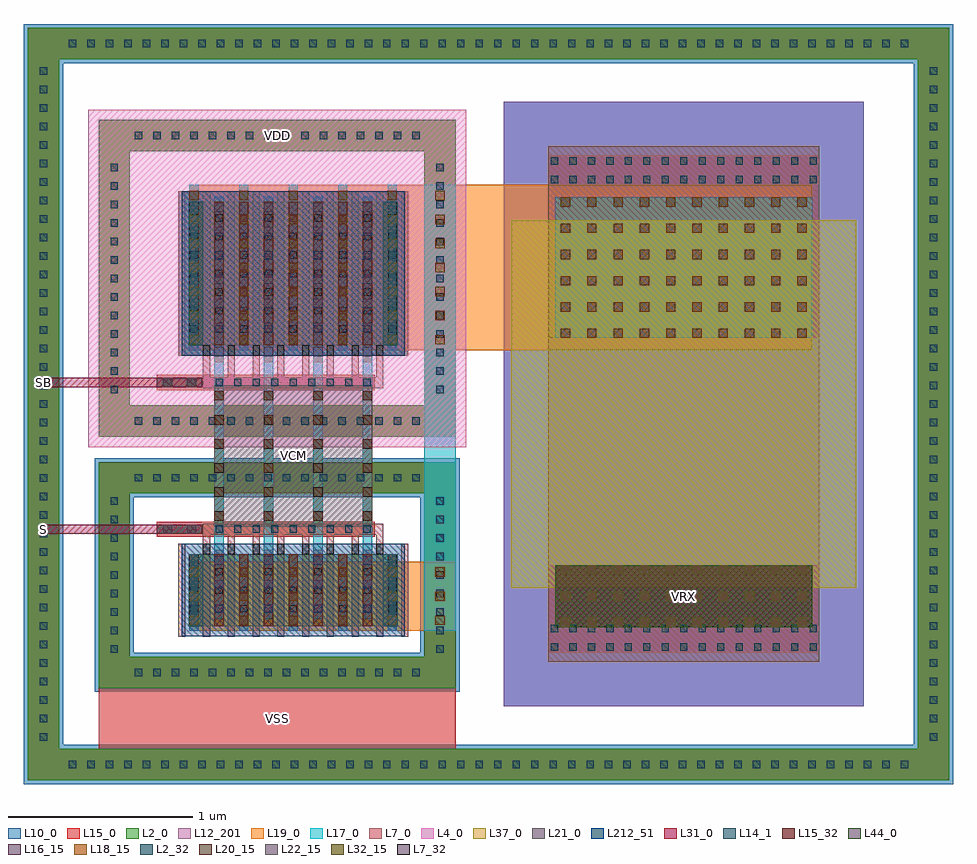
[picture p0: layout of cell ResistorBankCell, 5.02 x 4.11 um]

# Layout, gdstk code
import gdstk
lib = gdstk.Library(unit=1e-6, precision=1e-09)
def R(c, l, rs):  # rectangles x0, y0, x1, y1
    for r in rs: c.add(gdstk.rectangle(r[:2], r[2:], *l))
def A(c, l, x, y, w, h, nx, ny, dx, dy):  # array of equal rectangles
    R(c, l, [(x+i*dx, y+j*dy, x+i*dx+w, y+j*dy+h) for i in range(nx) for j in range(ny)])
L2_0 = (2, 0)
L2_32 = (2, 32)
L4_0 = (4, 0)
L7_0 = (7, 0)
L7_32 = (7, 32)
L10_0 = (10, 0)
L12_201 = (12, 201)
L14_1 = (14, 1)
L15_0 = (15, 0)
L15_32 = (15, 32)
L16_15 = (16, 15)
L17_0 = (17, 0)
L18_15 = (18, 15)
L19_0 = (19, 0)
L20_15 = (20, 15)
L21_0 = (21, 0)
L22_15 = (22, 15)
L31_0 = (31, 0)
L32_15 = (32, 15)
L37_0 = (37, 0)
L44_0 = (44, 0)
L212_51 = (212, 51)

nmosintransmissiongate = lib.new_cell('NMOSInTransmissionGate')
R(nmosintransmissiongate, L2_0, [(-0.564,-0.194,0.564,0.194)])
R(nmosintransmissiongate, L2_32, [(-0.564,-0.194,-0.488,0.194), (0.488,-0.194,0.564,0.194)])
A(nmosintransmissiongate, L7_0, -0.622, -0.251, 0.038, 0.502, 10, 1, 0.134, 0)
A(nmosintransmissiongate, L7_32, -0.488, -0.251, 0.038, 0.057, 8, 1, 0.134, 0)
A(nmosintransmissiongate, L14_1, -0.556, -0.12, 0.04, 0.04, 9, 3, 0.134, 0.1)
A(nmosintransmissiongate, L15_0, -0.561, -0.194, 0.05, 0.388, 9, 1, 0.134, 0)
A(nmosintransmissiongate, L15_32, -0.561, -0.194, 0.05, 0.388, 9, 1, 0.134, 0)
R(nmosintransmissiongate, L212_51, [(-0.603,-0.25,0.603,0.25)])

pmosintransmissiongate = lib.new_cell('PMOSInTransmissionGate')
R(pmosintransmissiongate, L2_0, [(-0.564,-0.388,0.564,0.388)])
R(pmosintransmissiongate, L2_32, [(-0.564,-0.388,-0.488,0.388), (0.488,-0.388,0.564,0.388)])
A(pmosintransmissiongate, L7_0, -0.622, -0.445, 0.038, 0.89, 10, 1, 0.134, 0)
A(pmosintransmissiongate, L7_32, -0.488, -0.445, 0.038, 0.057, 8, 1, 0.134, 0)
R(pmosintransmissiongate, L10_0, [(-0.62,-0.445,0.62,0.445)])
A(pmosintransmissiongate, L14_1, -0.556, -0.32, 0.04, 0.04, 9, 7, 0.134, 0.1)
A(pmosintransmissiongate, L15_0, -0.561, -0.388, 0.05, 0.776, 9, 1, 0.134, 0)
A(pmosintransmissiongate, L15_32, -0.561, -0.388, 0.05, 0.776, 9, 1, 0.134, 0)
R(pmosintransmissiongate, L212_51, [(-0.603,-0.444,0.603,0.444)])

viamet12met2onpmosoutput = lib.new_cell('ViaMet12Met2OnPMOSOutputInTransmissionGate')
R(viamet12met2onpmosoutput, L15_0, [(-0.025,-0.447,0.025,0.447)])
A(viamet12met2onpmosoutput, L16_15, -0.025, -0.415, 0.05, 0.05, 1, 7, 0, 0.13)
R(viamet12met2onpmosoutput, L17_0, [(-0.025,-0.447,0.025,0.447)])

viamet22met3onpmosoutput = lib.new_cell('ViaMet22Met3OnPMOSOutputInTransmissionGate')
R(viamet22met3onpmosoutput, L17_0, [(-0.025,-0.447,0.025,0.447)])
A(viamet22met3onpmosoutput, L18_15, -0.025, -0.415, 0.05, 0.05, 1, 7, 0, 0.13)
R(viamet22met3onpmosoutput, L19_0, [(-0.025,-0.447,0.025,0.447)])

viamet12met2onnmosoutput = lib.new_cell('ViaMet12Met2OnNMOSOutputInTransmissionGate')
R(viamet12met2onnmosoutput, L15_0, [(-0.025,-0.187,0.025,0.187)])
A(viamet12met2onnmosoutput, L16_15, -0.025, -0.155, 0.05, 0.05, 1, 3, 0, 0.13)
R(viamet12met2onnmosoutput, L17_0, [(-0.025,-0.187,0.025,0.187)])

viamet22met3onnmosoutput = lib.new_cell('ViaMet22Met3OnNMOSOutputInTransmissionGate')
R(viamet22met3onnmosoutput, L17_0, [(-0.025,-0.187,0.025,0.187)])
A(viamet22met3onnmosoutput, L18_15, -0.025, -0.155, 0.05, 0.05, 1, 3, 0, 0.13)
R(viamet22met3onnmosoutput, L19_0, [(-0.025,-0.187,0.025,0.187)])

viapoly2met1onpmoscontro = lib.new_cell('ViaPoly2Met1OnPMOSControlInTransmissionGate')
R(viapoly2met1onpmoscontro, L7_0, [(-0.43,-0.03,0.43,0.03)])
A(viapoly2met1onpmoscontro, L14_1, -0.42, -0.02, 0.04, 0.04, 9, 1, 0.1, 0)
R(viapoly2met1onpmoscontro, L15_0, [(-0.441,-0.041,0.441,0.041)])

viapoly2met1onnmoscontro = lib.new_cell('ViaPoly2Met1OnNMOSControlInTransmissionGate')
R(viapoly2met1onnmoscontro, L7_0, [(-0.43,-0.03,0.43,0.03)])
A(viapoly2met1onnmoscontro, L14_1, -0.42, -0.02, 0.04, 0.04, 9, 1, 0.1, 0)
R(viapoly2met1onnmoscontro, L15_0, [(-0.441,-0.041,0.441,0.041)])

transmissiongateinresist = lib.new_cell('TransmissionGateInResistorBank')
transmissiongateinresist.add(gdstk.FlexPath([(-0.469,0.444),(-0.469,0.804)], 0.038, ends="flush", simple_path=True, layer=7, datatype=0))  # L7_0
transmissiongateinresist.add(gdstk.FlexPath([(-0.335,0.444),(-0.335,0.804)], 0.038, ends="flush", simple_path=True, layer=7, datatype=0))  # L7_0
transmissiongateinresist.add(gdstk.FlexPath([(-0.201,0.444),(-0.201,0.804)], 0.038, ends="flush", simple_path=True, layer=7, datatype=0))  # L7_0
transmissiongateinresist.add(gdstk.FlexPath([(-0.067,0.444),(-0.067,0.804)], 0.038, ends="flush", simple_path=True, layer=7, datatype=0))  # L7_0
transmissiongateinresist.add(gdstk.FlexPath([(0.067,0.444),(0.067,0.804)], 0.038, ends="flush", simple_path=True, layer=7, datatype=0))  # L7_0
transmissiongateinresist.add(gdstk.FlexPath([(0.201,0.444),(0.201,0.804)], 0.038, ends="flush", simple_path=True, layer=7, datatype=0))  # L7_0
transmissiongateinresist.add(gdstk.FlexPath([(0.335,0.444),(0.335,0.804)], 0.038, ends="flush", simple_path=True, layer=7, datatype=0))  # L7_0
transmissiongateinresist.add(gdstk.FlexPath([(0.469,0.444),(0.469,0.804)], 0.038, ends="flush", simple_path=True, layer=7, datatype=0))  # L7_0
transmissiongateinresist.add(gdstk.FlexPath([(-0.469,2.157),(-0.469,1.537)], 0.038, ends="flush", simple_path=True, layer=7, datatype=0))  # L7_0
transmissiongateinresist.add(gdstk.FlexPath([(-0.335,2.157),(-0.335,1.537)], 0.038, ends="flush", simple_path=True, layer=7, datatype=0))  # L7_0
transmissiongateinresist.add(gdstk.FlexPath([(-0.201,2.157),(-0.201,1.537)], 0.038, ends="flush", simple_path=True, layer=7, datatype=0))  # L7_0
transmissiongateinresist.add(gdstk.FlexPath([(-0.067,2.157),(-0.067,1.537)], 0.038, ends="flush", simple_path=True, layer=7, datatype=0))  # L7_0
transmissiongateinresist.add(gdstk.FlexPath([(0.067,2.157),(0.067,1.537)], 0.038, ends="flush", simple_path=True, layer=7, datatype=0))  # L7_0
transmissiongateinresist.add(gdstk.FlexPath([(0.201,2.157),(0.201,1.537)], 0.038, ends="flush", simple_path=True, layer=7, datatype=0))  # L7_0
transmissiongateinresist.add(gdstk.FlexPath([(0.335,2.157),(0.335,1.537)], 0.038, ends="flush", simple_path=True, layer=7, datatype=0))  # L7_0
transmissiongateinresist.add(gdstk.FlexPath([(0.469,2.157),(0.469,1.537)], 0.038, ends="flush", simple_path=True, layer=7, datatype=0))  # L7_0
transmissiongateinresist.add(gdstk.FlexPath([(-0.469,0.774),(0.469,0.774)], 0.06, ends="flush", simple_path=True, layer=7, datatype=0))  # L7_0
transmissiongateinresist.add(gdstk.FlexPath([(-0.469,1.567),(0.469,1.567)], 0.06, ends="flush", simple_path=True, layer=7, datatype=0))  # L7_0
transmissiongateinresist.add(gdstk.Reference(nmosintransmissiongate, (0,0.444), x_reflection=True))
transmissiongateinresist.add(gdstk.Reference(pmosintransmissiongate, (0,2.157)))
transmissiongateinresist.add(gdstk.Reference(viamet12met2onpmosoutput, (-0.402,2.125)))
transmissiongateinresist.add(gdstk.Reference(viamet12met2onpmosoutput, (-0.134,2.125)))
transmissiongateinresist.add(gdstk.Reference(viamet12met2onpmosoutput, (0.134,2.125)))
transmissiongateinresist.add(gdstk.Reference(viamet12met2onpmosoutput, (0.402,2.125)))
transmissiongateinresist.add(gdstk.Reference(viamet12met2onpmosoutput, (-0.536,2.189)))
transmissiongateinresist.add(gdstk.Reference(viamet12met2onpmosoutput, (-0.268,2.189)))
transmissiongateinresist.add(gdstk.Reference(viamet12met2onpmosoutput, (0,2.189)))
transmissiongateinresist.add(gdstk.Reference(viamet12met2onpmosoutput, (0.268,2.189)))
transmissiongateinresist.add(gdstk.Reference(viamet12met2onpmosoutput, (0.536,2.189)))
transmissiongateinresist.add(gdstk.Reference(viamet22met3onpmosoutput, (-0.536,2.189)))
transmissiongateinresist.add(gdstk.Reference(viamet22met3onpmosoutput, (-0.268,2.189)))
transmissiongateinresist.add(gdstk.Reference(viamet22met3onpmosoutput, (0,2.189)))
transmissiongateinresist.add(gdstk.Reference(viamet22met3onpmosoutput, (0.268,2.189)))
transmissiongateinresist.add(gdstk.Reference(viamet22met3onpmosoutput, (0.536,2.189)))
transmissiongateinresist.add(gdstk.Reference(viamet12met2onnmosoutput, (-0.402,0.476)))
transmissiongateinresist.add(gdstk.Reference(viamet12met2onnmosoutput, (-0.134,0.476)))
transmissiongateinresist.add(gdstk.Reference(viamet12met2onnmosoutput, (0.134,0.476)))
transmissiongateinresist.add(gdstk.Reference(viamet12met2onnmosoutput, (0.402,0.476)))
transmissiongateinresist.add(gdstk.Reference(viamet12met2onnmosoutput, (-0.536,0.412)))
transmissiongateinresist.add(gdstk.Reference(viamet12met2onnmosoutput, (-0.268,0.412)))
transmissiongateinresist.add(gdstk.Reference(viamet12met2onnmosoutput, (0,0.412)))
transmissiongateinresist.add(gdstk.Reference(viamet12met2onnmosoutput, (0.268,0.412)))
transmissiongateinresist.add(gdstk.Reference(viamet12met2onnmosoutput, (0.536,0.412)))
transmissiongateinresist.add(gdstk.Reference(viamet22met3onnmosoutput, (-0.536,0.412)))
transmissiongateinresist.add(gdstk.Reference(viamet22met3onnmosoutput, (-0.268,0.412)))
transmissiongateinresist.add(gdstk.Reference(viamet22met3onnmosoutput, (0,0.412)))
transmissiongateinresist.add(gdstk.Reference(viamet22met3onnmosoutput, (0.268,0.412)))
transmissiongateinresist.add(gdstk.Reference(viamet22met3onnmosoutput, (0.536,0.412)))
transmissiongateinresist.add(gdstk.Reference(viapoly2met1onpmoscontro, (0,1.567)))
transmissiongateinresist.add(gdstk.Reference(viapoly2met1onnmoscontro, (0,0.774)))

viamet12met2oninputinres = lib.new_cell('ViaMet12Met2OnInputInResistorBank')
R(viamet12met2oninputinres, L15_0, [(-0.122,-0.025,0.122,0.025)])
R(viamet12met2oninputinres, L16_15, [(-0.09,-0.025,-0.04,0.025), (0.04,-0.025,0.09,0.025)])
R(viamet12met2oninputinres, L17_0, [(-0.122,-0.025,0.122,0.025)])

viamet22met3oninputinres = lib.new_cell('ViaMet22Met3OnInputInResistorBank')
R(viamet22met3oninputinres, L17_0, [(-0.122,-0.025,0.122,0.025)])
R(viamet22met3oninputinres, L18_15, [(-0.09,-0.025,-0.04,0.025), (0.04,-0.025,0.09,0.025)])
R(viamet22met3oninputinres, L19_0, [(-0.122,-0.025,0.122,0.025)])

viamet32met4oninputinres = lib.new_cell('ViaMet32Met4OnInputInResistorBank')
R(viamet32met4oninputinres, L19_0, [(-0.122,-0.025,0.122,0.025)])
R(viamet32met4oninputinres, L20_15, [(-0.09,-0.025,-0.04,0.025), (0.04,-0.025,0.09,0.025)])
R(viamet32met4oninputinres, L21_0, [(-0.122,-0.025,0.122,0.025)])

viamet42met5oninputinres = lib.new_cell('ViaMet42Met5OnInputInResistorBank')
R(viamet42met5oninputinres, L21_0, [(-0.122,-0.025,0.122,0.025)])
R(viamet42met5oninputinres, L22_15, [(-0.09,-0.025,-0.04,0.025), (0.04,-0.025,0.09,0.025)])
R(viamet42met5oninputinres, L31_0, [(-0.122,-0.025,0.122,0.025)])

opppcresinresistorbank = lib.new_cell('OpppcresInResistorBank')
R(opppcresinresistorbank, L7_0, [(-0.733,-1.394,0.733,1.394)])
R(opppcresinresistorbank, L10_0, [(-0.973,-1.634,0.973,1.634)])
R(opppcresinresistorbank, L12_201, [(-0.973,-1.634,0.973,1.634)])
A(opppcresinresistorbank, L14_1, -0.72, -1.334, 0.04, 0.04, 15, 2, 0.1, 0.1)
A(opppcresinresistorbank, L14_1, -0.72, 1.194, 0.04, 0.04, 15, 2, 0.1, 0.1)
R(opppcresinresistorbank, L15_0, [(-0.732,-1.346,0.732,-1.182), (-0.732,1.182,0.732,1.346)])
R(opppcresinresistorbank, L37_0, [(-0.933,-0.994,0.933,0.994)])

pmossubringinresistorban = lib.new_cell('PMOSSubringInResistorBank')
R(pmossubringinresistorban, L2_0, [(-0.966,-0.857,0.966,-0.687), (-0.966,-0.857,-0.796,0.857), (0.796,-0.857,0.966,0.857), (-0.966,0.687,0.966,0.857)])
A(pmossubringinresistorban, L14_1, -0.77, -0.792, 0.04, 0.04, 16, 2, 0.1, 1.544)
A(pmossubringinresistorban, L14_1, -0.901, -0.62, 0.04, 0.04, 1, 13, 0, 0.1)
A(pmossubringinresistorban, L14_1, 0.861, -0.62, 0.04, 0.04, 1, 13, 0, 0.1)
R(pmossubringinresistorban, L15_0, [(-0.966,-0.857,0.966,-0.687), (-0.966,-0.857,-0.796,0.857), (0.796,-0.857,0.966,0.857), (-0.966,0.687,0.966,0.857)])
pmossubringinresistorban.add(gdstk.FlexPath([(0.881,0.913),(0.881,-0.772),(-0.881,-0.772),(-0.881,0.772),(1.022,0.772)], 0.282, ends="flush", simple_path=True, layer=4, datatype=0))  # L4_0

nmossubringinresistorban = lib.new_cell('NMOSSubringInResistorBank')
R(nmossubringinresistorban, L2_0, [(-0.966,-0.611,0.966,-0.441), (-0.966,-0.611,-0.796,0.611), (0.796,-0.611,0.966,0.611), (-0.966,0.441,0.966,0.611)])
A(nmossubringinresistorban, L14_1, -0.77, -0.546, 0.04, 0.04, 16, 2, 0.1, 1.052)
A(nmossubringinresistorban, L14_1, -0.901, -0.42, 0.04, 0.04, 1, 9, 0, 0.1)
A(nmossubringinresistorban, L14_1, 0.861, -0.42, 0.04, 0.04, 1, 9, 0, 0.1)
R(nmossubringinresistorban, L15_0, [(-0.966,-0.611,0.966,-0.441), (-0.966,-0.611,-0.796,0.611), (0.796,-0.611,0.966,0.611), (-0.966,0.441,0.966,0.611)])
nmossubringinresistorban.add(gdstk.FlexPath([(0.881,0.632),(0.881,-0.526),(-0.881,-0.526),(-0.881,0.526),(0.987,0.526)], 0.212, ends="flush", simple_path=True, layer=10, datatype=0))  # L10_0

totalsubringinresistorba = lib.new_cell('TotalSubringInResistorBank')
R(totalsubringinresistorba, L2_0, [(-2.491,-2.034,2.491,-1.864), (-2.491,-2.034,-2.321,2.034), (2.321,-2.034,2.491,2.034), (-2.491,1.864,2.491,2.034)])
A(totalsubringinresistorba, L14_1, -2.27, -1.969, 0.04, 0.04, 46, 2, 0.1, 3.898)
A(totalsubringinresistorba, L14_1, -2.426, -1.82, 0.04, 0.04, 1, 37, 0, 0.1)
A(totalsubringinresistorba, L14_1, 2.386, -1.82, 0.04, 0.04, 1, 37, 0, 0.1)
R(totalsubringinresistorba, L15_0, [(-2.491,-2.034,2.491,-1.864), (-2.491,-2.034,-2.321,2.034), (2.321,-2.034,2.491,2.034), (-2.491,1.864,2.491,2.034)])
totalsubringinresistorba.add(gdstk.FlexPath([(2.406,2.055),(2.406,-1.949),(-2.406,-1.949),(-2.406,1.949),(2.512,1.949)], 0.212, ends="flush", simple_path=True, layer=10, datatype=0))  # L10_0

viamet12met2onresistorin = lib.new_cell('ViaMet12Met2OnResistorInResistorBank')
R(viamet12met2onresistorin, L15_0, [(-0.696,-0.38,0.696,0.38)])
A(viamet12met2onresistorin, L16_15, -0.664, -0.38, 0.05, 0.05, 10, 6, 0.142, 0.142)
R(viamet12met2onresistorin, L17_0, [(-0.696,-0.38,0.696,0.38)])

viamet12met2onresistor1i = lib.new_cell('ViaMet12Met2OnResistor1InResistorBank')
R(viamet12met2onresistor1i, L15_0, [(-0.696,-0.167,0.696,0.167)])
A(viamet12met2onresistor1i, L16_15, -0.664, -0.167, 0.05, 0.05, 10, 3, 0.142, 0.142)
R(viamet12met2onresistor1i, L17_0, [(-0.696,-0.167,0.696,0.167)])

viamet22met3onresistorin = lib.new_cell('ViaMet22Met3OnResistorInResistorBank')
R(viamet22met3onresistorin, L17_0, [(-0.696,-0.38,0.696,0.38)])
A(viamet22met3onresistorin, L18_15, -0.664, -0.38, 0.05, 0.05, 10, 6, 0.142, 0.142)
R(viamet22met3onresistorin, L19_0, [(-0.696,-0.38,0.696,0.38)])

viamet22met3onresistor1i = lib.new_cell('ViaMet22Met3OnResistor1InResistorBank')
R(viamet22met3onresistor1i, L17_0, [(-0.696,-0.167,0.696,0.167)])
A(viamet22met3onresistor1i, L18_15, -0.664, -0.167, 0.05, 0.05, 10, 3, 0.142, 0.142)
R(viamet22met3onresistor1i, L19_0, [(-0.696,-0.167,0.696,0.167)])

viamet32met4onresistorin = lib.new_cell('ViaMet32Met4OnResistorInResistorBank')
R(viamet32met4onresistorin, L19_0, [(-0.696,-0.167,0.696,0.167)])
A(viamet32met4onresistorin, L20_15, -0.664, -0.167, 0.05, 0.05, 10, 3, 0.142, 0.142)
R(viamet32met4onresistorin, L21_0, [(-0.696,-0.167,0.696,0.167)])

viamet42met5onresistorin = lib.new_cell('ViaMet42Met5OnResistorInResistorBank')
R(viamet42met5onresistorin, L21_0, [(-0.696,-0.167,0.696,0.167)])
A(viamet42met5onresistorin, L22_15, -0.664, -0.167, 0.05, 0.05, 10, 3, 0.142, 0.142)
R(viamet42met5onresistorin, L31_0, [(-0.696,-0.167,0.696,0.167)])

viamet52met6onresistorin = lib.new_cell('ViaMet52Met6OnResistorInResistorBank')
R(viamet52met6onresistorin, L31_0, [(-0.696,-0.167,0.696,0.167)])
A(viamet52met6onresistorin, L32_15, -0.664, -0.167, 0.05, 0.05, 10, 3, 0.142, 0.142)
R(viamet52met6onresistorin, L44_0, [(-0.696,-0.167,0.696,0.167)])

viavcmmet22met3inresisto = lib.new_cell('ViaVCMMet22Met3InResistorBank')
R(viavcmmet22met3inresisto, L17_0, [(-0.025,-0.382,0.025,0.382)])
A(viavcmmet22met3inresisto, L18_15, -0.025, -0.35, 0.05, 0.05, 1, 6, 0, 0.13)
R(viavcmmet22met3inresisto, L19_0, [(-0.025,-0.382,0.025,0.382)])

viavcmmet32met4inresisto = lib.new_cell('ViaVCMMet32Met4InResistorBank')
R(viavcmmet32met4inresisto, L19_0, [(-0.025,-0.382,0.025,0.382)])
A(viavcmmet32met4inresisto, L20_15, -0.025, -0.35, 0.05, 0.05, 1, 6, 0, 0.13)
R(viavcmmet32met4inresisto, L21_0, [(-0.025,-0.382,0.025,0.382)])

viatgpmos2resmet22met3in = lib.new_cell('ViaTGPMOS2ResMet22Met3InResistorBank')
R(viatgpmos2resmet22met3in, L17_0, [(-0.057,-0.415,0.057,0.415)])
A(viatgpmos2resmet22met3in, L18_15, -0.025, -0.415, 0.05, 0.05, 1, 7, 0, 0.13)
R(viatgpmos2resmet22met3in, L19_0, [(-0.057,-0.415,0.057,0.415)])

viatgnmos2resmet22met3in = lib.new_cell('ViaTGNMOS2ResMet22Met3InResistorBank')
R(viatgnmos2resmet22met3in, L17_0, [(-0.057,-0.155,0.057,0.155)])
A(viatgnmos2resmet22met3in, L18_15, -0.025, -0.155, 0.05, 0.05, 1, 3, 0, 0.13)
R(viatgnmos2resmet22met3in, L19_0, [(-0.057,-0.155,0.057,0.155)])

resistorbankcell = lib.new_cell('ResistorBankCell')
R(resistorbankcell, L15_0, [(-1.053,-0.583,0.879,0.085)])
A(resistorbankcell, L17_0, -0.427, 0.289, 0.05, 2.284, 4, 1, 0.268, 0)
R(resistorbankcell, L21_0, [(-0.402,0.788,0.402,1.552)])
resistorbankcell.add(gdstk.FlexPath([(-0.615,1.567),(-1.35,1.567)], 0.05, ends="flush", simple_path=True, layer=31, datatype=0))  # L31_0
resistorbankcell.add(gdstk.FlexPath([(-0.615,0.774),(-1.35,0.774)], 0.05, ends="flush", simple_path=True, layer=31, datatype=0))  # L31_0
resistorbankcell.add(gdstk.FlexPath([(-0.883,2.13),(0.709,2.13)], 1.374, ends="flush", simple_path=True, layer=4, datatype=0))  # L4_0
resistorbankcell.add(gdstk.FlexPath([(-0.737,1.567),(0,1.567)], 0.082, ends="flush", simple_path=True, layer=15, datatype=0))  # L15_0
resistorbankcell.add(gdstk.FlexPath([(-0.737,0.774),(0,0.774)], 0.082, ends="flush", simple_path=True, layer=15, datatype=0))  # L15_0
resistorbankcell.add(gdstk.FlexPath([(2.112,1.809),(2.112,2.797)], 1.464, ends="flush", simple_path=True, layer=15, datatype=0))  # L15_0
resistorbankcell.add(gdstk.FlexPath([(2.112,0.579),(2.112,0.105)], 1.464, ends="flush", simple_path=True, layer=15, datatype=0))  # L15_0
resistorbankcell.add(gdstk.FlexPath([(-0.536,2.189),(2.808,2.189)], 0.894, ends="flush", simple_path=True, layer=19, datatype=0))  # L19_0
resistorbankcell.add(gdstk.FlexPath([(-0.536,0.412),(0.879,0.412)], 0.374, ends="flush", simple_path=True, layer=19, datatype=0))  # L19_0
resistorbankcell.add(gdstk.FlexPath([(0.794,2.636),(0.794,0.225)], 0.17, ends="flush", simple_path=True, layer=17, datatype=0))  # L17_0
resistorbankcell.add(gdstk.Reference(transmissiongateinresist, (0,0)))
resistorbankcell.add(gdstk.Reference(viamet12met2oninputinres, (-0.615,1.567)))
resistorbankcell.add(gdstk.Reference(viamet12met2oninputinres, (-0.615,0.774)))
resistorbankcell.add(gdstk.Reference(viamet22met3oninputinres, (-0.615,1.567)))
resistorbankcell.add(gdstk.Reference(viamet22met3oninputinres, (-0.615,0.774)))
resistorbankcell.add(gdstk.Reference(viamet32met4oninputinres, (-0.615,1.567)))
resistorbankcell.add(gdstk.Reference(viamet32met4oninputinres, (-0.615,0.774)))
resistorbankcell.add(gdstk.Reference(viamet42met5oninputinres, (-0.615,1.567)))
resistorbankcell.add(gdstk.Reference(viamet42met5oninputinres, (-0.615,0.774)))
resistorbankcell.add(gdstk.Reference(opppcresinresistorbank, (2.112,1.451)))
resistorbankcell.add(gdstk.Reference(pmossubringinresistorban, (-0.087,2.13)))
resistorbankcell.add(gdstk.Reference(nmossubringinresistorban, (-0.087,0.526)))
resistorbankcell.add(gdstk.Reference(totalsubringinresistorba, (1.056,1.451)))
resistorbankcell.add(gdstk.Reference(viamet12met2onresistorin, (2.112,2.189)))
resistorbankcell.add(gdstk.Reference(viamet12met2onresistor1i, (2.112,0.412)))
resistorbankcell.add(gdstk.Reference(viamet22met3onresistorin, (2.112,2.189)))
resistorbankcell.add(gdstk.Reference(viamet22met3onresistor1i, (2.112,0.412)))
resistorbankcell.add(gdstk.Reference(viamet32met4onresistorin, (2.112,0.412)))
resistorbankcell.add(gdstk.Reference(viamet42met5onresistorin, (2.112,0.412)))
resistorbankcell.add(gdstk.Reference(viamet52met6onresistorin, (2.112,0.412)))
resistorbankcell.add(gdstk.Reference(viavcmmet22met3inresisto, (-0.402,1.17)))
resistorbankcell.add(gdstk.Reference(viavcmmet22met3inresisto, (-0.134,1.17)))
resistorbankcell.add(gdstk.Reference(viavcmmet22met3inresisto, (0.134,1.17)))
resistorbankcell.add(gdstk.Reference(viavcmmet22met3inresisto, (0.402,1.17)))
resistorbankcell.add(gdstk.Reference(viavcmmet32met4inresisto, (-0.402,1.17)))
resistorbankcell.add(gdstk.Reference(viavcmmet32met4inresisto, (-0.134,1.17)))
resistorbankcell.add(gdstk.Reference(viavcmmet32met4inresisto, (0.134,1.17)))
resistorbankcell.add(gdstk.Reference(viavcmmet32met4inresisto, (0.402,1.17)))
resistorbankcell.add(gdstk.Reference(viatgpmos2resmet22met3in, (0.794,2.189)))
resistorbankcell.add(gdstk.Reference(viatgnmos2resmet22met3in, (0.794,0.412)))
resistorbankcell.add(gdstk.Label('VDD', (-0.087,2.902), layer=15, texttype=20))
resistorbankcell.add(gdstk.Label('VSS', (-0.087,-0.249), layer=15, texttype=20))
resistorbankcell.add(gdstk.Label('S', (-1.35,0.774), layer=31, texttype=20))
resistorbankcell.add(gdstk.Label('SB', (-1.35,1.567), layer=31, texttype=20))
resistorbankcell.add(gdstk.Label('VRX', (2.112,0.412), layer=44, texttype=20))
resistorbankcell.add(gdstk.Label('VCM', (0,1.17), layer=21, texttype=20))

lib.write_gds('ResistorBankCell.gds')
